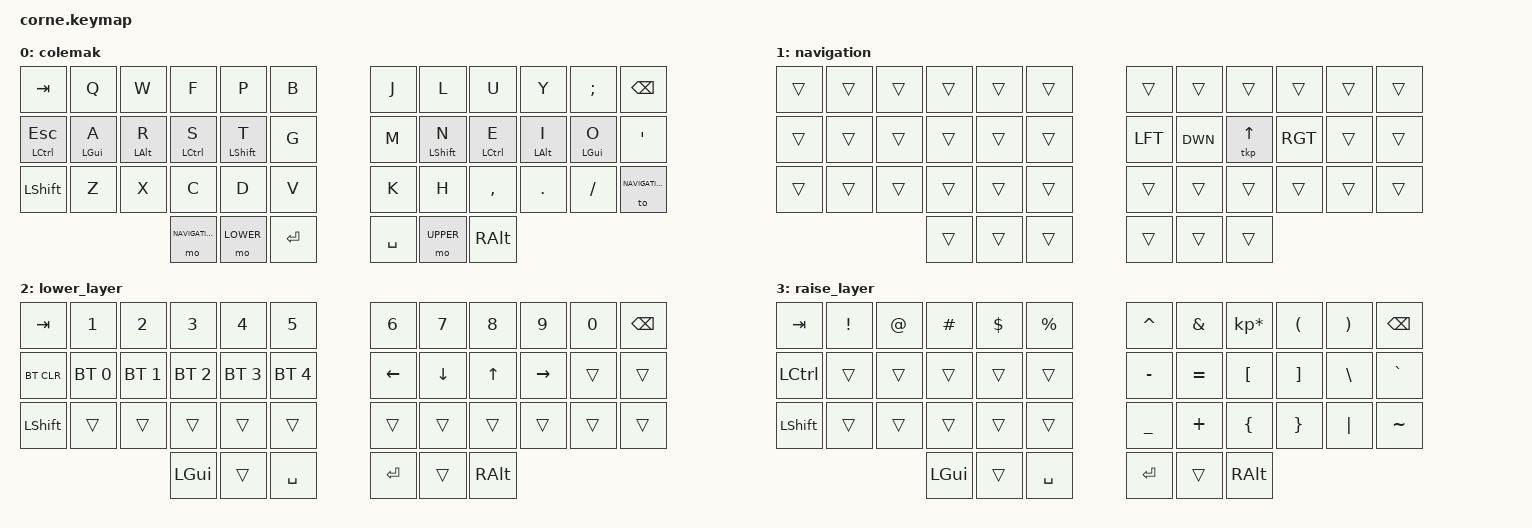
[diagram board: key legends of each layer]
/*
 * Copyright (c) 2020 The ZMK Contributors
 *
 * SPDX-License-Identifier: MIT
 */

#include <behaviors.dtsi>
#include <dt-bindings/zmk/keys.h>
#include <dt-bindings/zmk/bt.h>

&mt {
    tapping-term-ms = <200>;
    quick_tap_ms = <0>;
    flavor = "tap-preferred";
};
&lt {
    tapping-term-ms = <200>;
    quick_tap_ms = <0>;
    flavor = "tap-preferred";
};

#define COLEMAK 0
#define NAVIGATION 1
#define LOWER 2
#define UPPER 3


/ {
        keymap {
                compatible = "zmk,keymap";

                // TODO: modifiers on the home row
                colemak {
// -----------------------------------------------------------------------------------------
// |  TAB     |  Q     |  W     |  F      |  P      |  B  |   |  J  |  L      | U       | Y      | ;      | BKSP   |
// | CTRL/ESC | A/LGUI | R/LALT | S/LCTRL | T/LSHFT |  G  |   |  M  | N/LSHFT | E/LCTRL | I/LALT | O/LGUI | '      |
// | SHFT     | Z      | X      | C       | D       |  V  |   |  K  | H       | ,       | .      | /      | NAV |
//                              | GUI     | LWR     | SPC |   | ENT | RSE     | ALT     |
                        bindings = <
   &kp TAB       &kp Q      &kp W      &kp F       &kp P       &kp B   &kp J &kp L       &kp U       &kp Y      &kp SEMI   &kp BSPC
   &mt LCTRL ESC &mt LGUI A &mt LALT R &mt LCTRL S &mt LSHFT T &kp G   &kp M &mt LSHFT N &mt LCTRL E &mt LALT I &mt LGUI O &kp SQT
   &kp LSHFT     &kp Z      &kp X      &kp C       &kp D       &kp V   &kp K &kp H       &kp COMMA   &kp DOT    &kp FSLH   &to NAVIGATION
                      &mo NAVIGATION &mo LOWER &kp RET   &kp SPACE &mo UPPER &kp RALT
                        >;
                };

                navigation {
// -----------------------------------------------------------------------------------------
// |      |      |       |      |      |    | |     |     |     |     |     |     |
// |      |      |       |      |      |    | | LFT | DWN | UP  | RGT |     |     |
// |      |      |       |      |      |    | |     |     |     |     |     |     |
//                        | GUI | LWR | SPC | | ENT | RSE | ALT |
                        bindings = <
   &trans  &trans &trans &trans &trans &trans  &trans &trans &trans &trans &trans &trans
   &trans  &trans &trans &trans &trans &trans  &kp LFT &kp DWN &tkp UP &kp RGT &trans &trans
   &trans  &trans &trans &trans &trans &trans  &trans &trans &trans &trans &trans &trans
                         &trans &trans &trans  &trans &trans &trans
                        >;
                };

                // TODO: number pad and symbols layer
                // TODO: move bluetooth to something harder to accidentally hit

                lower_layer {
// -----------------------------------------------------------------------------------------
// |  TAB |  1  |  2  |  3  |  4  |  5  |   |  6  |  7  |  8  |  9  |  0  | BKSP |
// | BTCLR| BT1 | BT2 | BT3 | BT4 | BT5 |   | LFT | DWN |  UP | RGT |     |      |
// | SHFT |     |     |     |     |     |   |     |     |     |     |     |      |
//                    | GUI |     | SPC |   | ENT |     | ALT |
                        bindings = <
   &kp TAB    &kp N1       &kp N2       &kp N3       &kp N4       &kp N5         &kp N6   &kp N7   &kp N8 &kp N9    &kp N0 &kp BSPC
   &bt BT_CLR &bt BT_SEL 0 &bt BT_SEL 1 &bt BT_SEL 2 &bt BT_SEL 3 &bt BT_SEL 4   &kp LEFT &kp DOWN &kp UP &kp RIGHT &trans &trans
   &kp LSHFT  &trans       &trans       &trans       &trans       &trans         &trans   &trans   &trans &trans    &trans &trans
                          	        &kp LGUI     &trans       &kp SPACE      &kp RET  &trans   &kp RALT
                        >;
                };

                raise_layer {
// -----------------------------------------------------------------------------------------
// |  TAB |  !  |  @  |  #  |  $  |  %  |   |  ^  |  &  |  *  |  (  |  )  | BKSP |
// | CTRL |     |     |     |     |     |   |  -  |  =  |  [  |  ]  |  \  |  `   |
// | SHFT |     |     |     |     |     |   |  _  |  +  |  {  |  }  | "|" |  ~   |
//                    | GUI |     | SPC |   | ENT |     | ALT |
                        bindings = <
   &kp  TAB  &kp EXCL &kp AT &kp HASH &kp DLLR &kp PRCNT   &kp CARET &kp AMPS  &kp KP_MULTIPLY &kp LPAR &kp RPAR &kp BSPC
   &kp LCTRL &trans   &trans &trans   &trans   &trans      &kp MINUS &kp EQUAL &kp LBKT        &kp RBKT &kp BSLH &kp GRAVE
   &kp LSHFT &trans   &trans &trans   &trans   &trans      &kp UNDER &kp PLUS  &kp LBRC        &kp RBRC &kp PIPE &kp TILDE
                    	     &kp LGUI &trans   &kp SPACE   &kp RET   &trans    &kp RALT
                        >;
                };
        };
};
